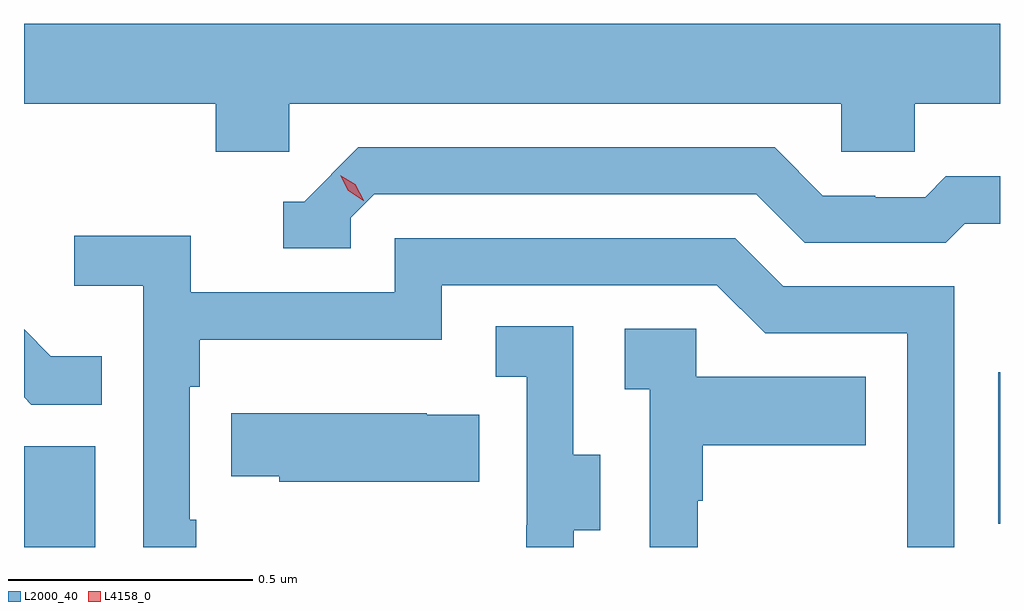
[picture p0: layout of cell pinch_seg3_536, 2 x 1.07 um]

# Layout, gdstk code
import gdstk
lib = gdstk.Library(unit=1e-6, precision=1e-09)
def R(c, l, rs):  # rectangles x0, y0, x1, y1
    for r in rs: c.add(gdstk.rectangle(r[:2], r[2:], *l))
def P(c, l, *ps):  # polygons
    for p in ps: c.add(gdstk.Polygon(p, *l))
L2000_40 = (2000, 40)
L4158_0 = (4158, 0)

pinch_seg3_536 = lib.new_cell('pinch_seg3_536')
R(pinch_seg3_536, L2000_40, [(1142.378,702.672,1142.524,702.879), (1144.374,702.72,1144.378,703.03)])
P(pinch_seg3_536, L2000_40, [(1142.922,703.58),(1144.053,703.58),(1144.053,703.482),(1144.203,703.482),(1144.203,703.58),(1144.378,703.58),(1144.378,703.744),(1142.378,703.744),(1142.378,703.58),(1142.771,703.58),(1142.771,703.482),(1142.922,703.482)],
  [(1143.048,703.347),(1143.096,703.395),(1143.879,703.395),(1143.978,703.296),(1144.267,703.296),(1144.306,703.335),(1144.378,703.335),(1144.378,703.432),(1144.267,703.432),(1144.225,703.389),(1144.122,703.389),(1144.122,703.392),(1144.015,703.392),(1143.916,703.491),(1143.063,703.491),(1142.952,703.38),(1142.909,703.38),(1142.909,703.284),(1143.048,703.284)],
  [(1142.731,702.728),(1142.718,702.728),(1142.718,703.001),(1142.738,703.001),(1142.738,703.097),(1143.234,703.097),(1143.234,703.209),(1143.798,703.209),(1143.897,703.11),(1144.188,703.11),(1144.188,702.672),(1144.284,702.672),(1144.284,703.206),(1143.934,703.206),(1143.835,703.305),(1143.138,703.305),(1143.138,703.194),(1142.72,703.194),(1142.72,703.31),(1142.481,703.31),(1142.481,703.208),(1142.622,703.208),(1142.622,702.672),(1142.731,702.672)],
  [(1143.505,702.706),(1143.559,702.706),(1143.559,702.861),(1143.504,702.861),(1143.504,703.124),(1143.345,703.124),(1143.345,703.021),(1143.408,703.021),(1143.408,702.717),(1143.407,702.717),(1143.407,702.672),(1143.505,702.672)],
  [(1143.759,702.767),(1143.769,702.767),(1143.769,702.881),(1144.103,702.881),(1144.103,703.021),(1143.756,703.021),(1143.756,703.119),(1143.609,703.119),(1143.609,702.995),(1143.66,702.995),(1143.66,702.672),(1143.759,702.672)],
  [(1142.537,703.063),(1142.433,703.063),(1142.378,703.118),(1142.378,702.979),(1142.393,702.964),(1142.537,702.964)],
  [(1143.311,702.943),(1143.203,702.943),(1143.203,702.946),(1142.803,702.946),(1142.803,702.817),(1142.901,702.817),(1142.901,702.806),(1143.311,702.806)])
P(pinch_seg3_536, L4158_0, [(1143.073,703.382),(1143.042,703.402),(1143.026,703.434),(1143.026,703.434),(1143.026,703.434),(1143.057,703.415),(1143.074,703.383),(1143.074,703.382)])

lib.write_gds('pinch_seg3_536.gds')
